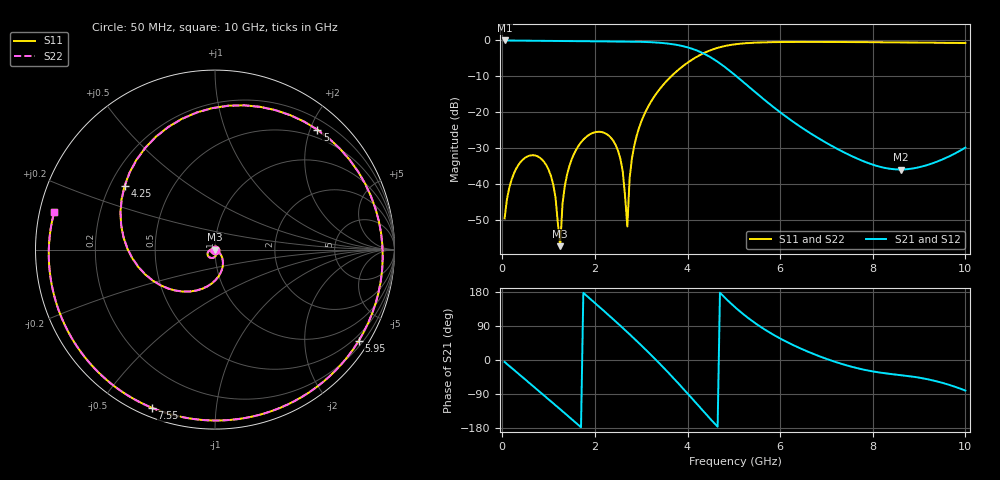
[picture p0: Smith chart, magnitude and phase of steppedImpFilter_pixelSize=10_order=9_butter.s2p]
! freq	dB(S11)	phase(S11)	dB(S12)	phase(S12)
!  dB(S21)	phase(S21)	dB(S22)	phase(S22)
!S-par simulation data
#  GHz  S  DB  R 50
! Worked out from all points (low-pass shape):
!   200 points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, 50 MHz to 10 GHz, reference 50 ohm
!   highest |S21| = -0.01 dB at 50 MHz (marker M1); lowest = -36.0 dB at 8.6 GHz (marker M2)
!   |S21| within 3 dB of the highest: start of sweep to 4.238 GHz
!   lowest |S11| = -57.4 dB at 1.25 GHz (marker M3), VSWR 1.00, Z = 50.1 - j0.0218 ohm
!   |S11| at or under -10 dB: start of sweep to 3.648 GHz
!   |S22| runs from -56.0 to -0.4 dB; largest |S21 - S12| = 0
!   S11 on the Smith chart (normalised r, x): 50 MHz: 1.00, -0.01; 4.25 GHz: 0.26, +0.30; 5 GHz: 0.36, +2.12; 5.95 GHz: 0.34, -3.42; 7.55 GHz: 0.04, -0.68; 10 GHz: 0.04, +0.12
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0.05  -49.66 -85.4  -0.01 -5.3  -0.01 -5.3  -49.66 -85.5
0.3  -35.78 -119.9  -0.05 -31.2  -0.05 -31.2  -35.79 -120.0
0.75  -32.27 -169.6  -0.10 -77.8  -0.10 -77.8  -32.27 -170.0
1.1  -40.21 150.6  -0.13 -114.3  -0.13 -114.3  -40.20 148.7
1.25  -57.41 -9.3  -0.15 -130.0  -0.15 -130.0  -55.97 1.7
1.4  -37.36 -53.9  -0.17 -145.7  -0.17 -145.7  -37.33 -52.1
1.75  -27.69 -93.0  -0.21 177.2  -0.21 177.2  -27.68 -92.3
2.45  -29.24 -168.3  -0.29 101.5  -0.29 101.5  -29.23 -167.8
2.6  -36.48 177.3  -0.31 84.8  -0.31 84.8  -36.46 178.5
2.7  -51.93 -51.3  -0.32 73.5  -0.32 73.5  -51.42 -56.0
2.85  -29.34 -37.1  -0.35 56.3  -0.35 56.3  -29.34 -37.6
3.4  -13.55 -101.9  -0.65 -9.8  -0.65 -9.8  -13.55 -102.1
3.85  -7.69 -160.4  -1.45 -68.1  -1.45 -68.1  -7.69 -160.5
4.25  -4.21 144.9  -3.07 -122.6  -3.07 -122.6  -4.21 144.7
5  -1.12 49.6  -9.41 142.2  -9.41 142.2  -1.12 49.4
5.05  -1.04 44.1  -9.94 136.8  -9.94 136.8  -1.04 43.9
5.95  -0.46 -32.3  -19.55 60.1  -19.55 60.1  -0.46 -32.4
6.7  -0.42 -75.0  -26.29 16.9  -26.29 16.9  -0.42 -75.1
7.55  -0.46 -111.7  -32.31 -18.0  -32.31 -18.0  -0.46 -111.8
8.35  -0.53 -140.4  -35.78 -36.3  -35.78 -36.3  -0.53 -140.5
8.6  -0.56 -148.7  -36.02 -39.8  -36.02 -39.8  -0.56 -148.8
10  -0.72 166.8  -29.90 -80.7  -29.90 -80.7  -0.73 166.7
